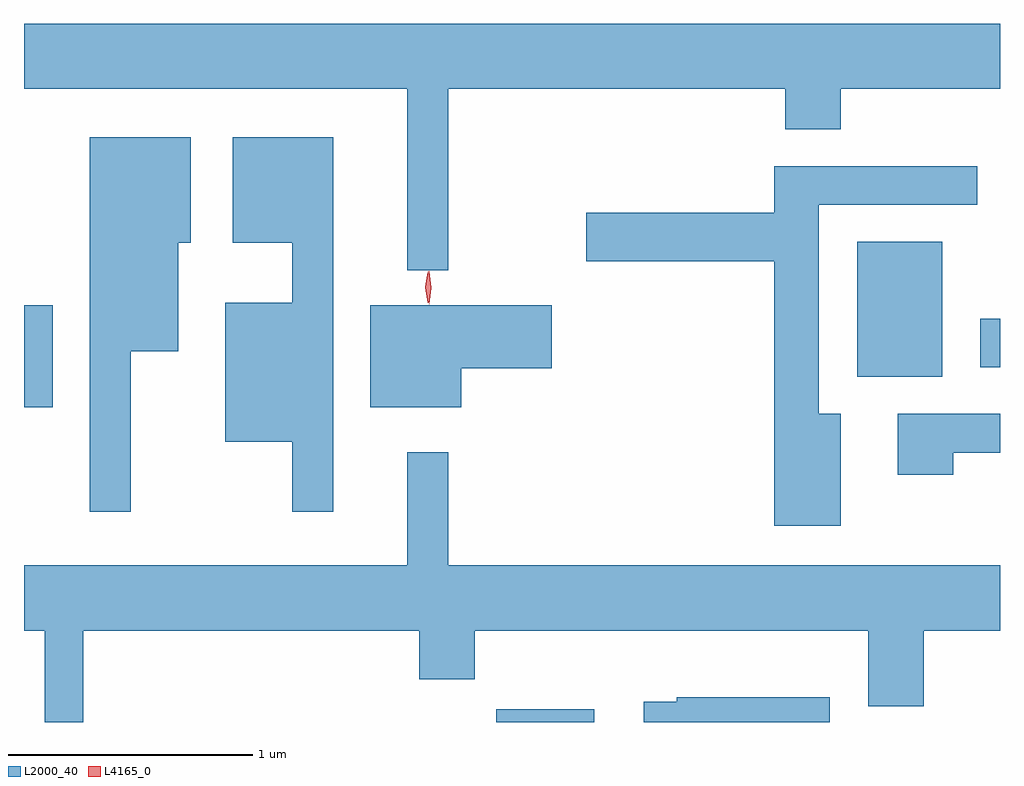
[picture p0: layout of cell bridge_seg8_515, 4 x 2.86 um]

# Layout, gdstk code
import gdstk
lib = gdstk.Library(unit=1e-6, precision=1e-09)
def R(c, l, rs):  # rectangles x0, y0, x1, y1
    for r in rs: c.add(gdstk.rectangle(r[:2], r[2:], *l))
def P(c, l, *ps):  # polygons
    for p in ps: c.add(gdstk.Polygon(p, *l))
L2000_40 = (2000, 40)
L4165_0 = (4165, 0)

bridge_seg8_515 = lib.new_cell('bridge_seg8_515')
R(bridge_seg8_515, L2000_40, [(211.196,1849.36,211.599,1849.414), (209.261,1850.651,209.379,1851.069), (212.676,1850.776,213.024,1851.329), (213.181,1850.816,213.261,1851.014)])
P(bridge_seg8_515, L2000_40, [(210.999,1851.956),(212.381,1851.956),(212.381,1851.791),(212.609,1851.791),(212.609,1851.956),(213.261,1851.956),(213.261,1852.224),(209.261,1852.224),(209.261,1851.956),(210.831,1851.956),(210.831,1851.213),(210.999,1851.213)],
  [(209.699,1850.881),(209.894,1850.881),(209.894,1851.326),(209.944,1851.326),(209.944,1851.759),(209.531,1851.759),(209.531,1850.223),(209.699,1850.223)],
  [(210.529,1851.759),(210.116,1851.759),(210.116,1851.326),(210.361,1851.326),(210.361,1851.079),(210.086,1851.079),(210.086,1850.511),(210.361,1850.511),(210.361,1850.223),(210.529,1850.223)],
  [(212.609,1850.624),(212.519,1850.624),(212.519,1851.481),(213.168,1851.481),(213.168,1851.639),(212.336,1851.639),(212.336,1851.449),(211.566,1851.449),(211.566,1851.251),(212.336,1851.251),(212.336,1850.166),(212.609,1850.166)],
  [(211.054,1850.811),(211.424,1850.811),(211.424,1851.069),(210.681,1851.069),(210.681,1850.651),(211.054,1850.651)],
  [(213.069,1850.466),(213.261,1850.466),(213.261,1850.624),(212.841,1850.624),(212.841,1850.376),(213.069,1850.376)],
  [(209.504,1849.736),(210.881,1849.736),(210.881,1849.536),(211.109,1849.536),(211.109,1849.736),(212.721,1849.736),(212.721,1849.426),(212.949,1849.426),(212.949,1849.736),(213.261,1849.736),(213.261,1850.004),(210.999,1850.004),(210.999,1850.468),(210.831,1850.468),(210.831,1850.004),(209.261,1850.004),(209.261,1849.736),(209.346,1849.736),(209.346,1849.36),(209.504,1849.36)],
  [(212.564,1849.464),(211.936,1849.464),(211.936,1849.444),(211.801,1849.444),(211.801,1849.36),(212.564,1849.36)])
P(bridge_seg8_515, L4165_0, [(210.921,1851.074),(210.912,1851.142),(210.92,1851.21),(210.921,1851.21),(210.921,1851.21),(210.931,1851.142),(210.922,1851.074),(210.922,1851.074)],
  [(210.916,1851.08),(210.916,1851.08),(210.906,1851.143),(210.915,1851.206),(210.916,1851.207),(210.916,1851.206),(210.926,1851.144),(210.917,1851.08)])

lib.write_gds('bridge_seg8_515.gds')
